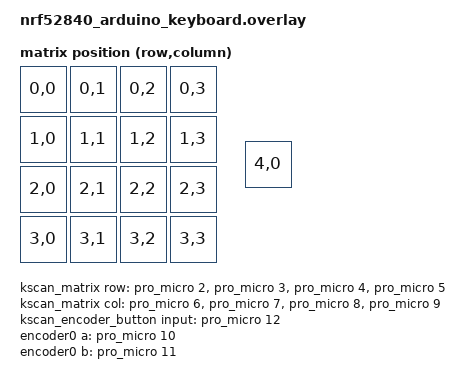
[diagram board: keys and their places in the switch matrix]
#include <dt-bindings/gpio/gpio.h>
#include <dt-bindings/zmk/matrix_transform.h>
#include <physical_layouts.dtsi>

/ {
    chosen {
        zmk,physical-layout = &physical_layout0;
        zmk,kscan = &kscan0;
        zmk,matrix-transform = &default_transform;
    };

    kscan0: kscan_composite {
        compatible = "zmk,kscan-composite";
        rows = <5>;
        columns = <4>;
        wakeup-source;

        matrix {
            kscan = <&kscan_matrix>;
        };

        encoder_button {
            kscan = <&kscan_encoder_button>;
            row-offset = <4>;
        };
    };

    kscan_matrix: kscan_matrix {
        compatible = "zmk,kscan-gpio-matrix";
        diode-direction = "row2col";
        wakeup-source;
        debounce-press-ms = <5>;
        debounce-release-ms = <5>;
        debounce-scan-period-ms = <1>;

        row-gpios
            = <&pro_micro 2 GPIO_ACTIVE_HIGH>
            , <&pro_micro 3 GPIO_ACTIVE_HIGH>
            , <&pro_micro 4 GPIO_ACTIVE_HIGH>
            , <&pro_micro 5 GPIO_ACTIVE_HIGH>
            ;

        col-gpios
            = <&pro_micro 6 (GPIO_ACTIVE_HIGH | GPIO_PULL_DOWN)>
            , <&pro_micro 7 (GPIO_ACTIVE_HIGH | GPIO_PULL_DOWN)>
            , <&pro_micro 8 (GPIO_ACTIVE_HIGH | GPIO_PULL_DOWN)>
            , <&pro_micro 9 (GPIO_ACTIVE_HIGH | GPIO_PULL_DOWN)>
            ;
    };

    kscan_encoder_button: kscan_encoder_button {
        compatible = "zmk,kscan-gpio-direct";
        wakeup-source;
        debounce-press-ms = <5>;
        debounce-release-ms = <5>;
        debounce-scan-period-ms = <1>;
        input-gpios = <&pro_micro 12 (GPIO_ACTIVE_LOW | GPIO_PULL_UP)>;
    };

    encoder0: encoder {
        compatible = "alps,ec11";
        a-gpios = <&pro_micro 10 (GPIO_ACTIVE_HIGH | GPIO_PULL_UP)>;
        b-gpios = <&pro_micro 11 (GPIO_ACTIVE_HIGH | GPIO_PULL_UP)>;
        steps = <80>;
        status = "okay";
    };

    sensors: sensors {
        compatible = "zmk,keymap-sensors";
        sensors = <&encoder0>;
        triggers-per-rotation = <20>;
    };

    default_transform: keymap_transform0 {
        compatible = "zmk,matrix-transform";
        rows = <5>;
        columns = <4>;
        map = <
            RC(0,0) RC(0,1) RC(0,2) RC(0,3)
            RC(1,0) RC(1,1) RC(1,2) RC(1,3)
            RC(2,0) RC(2,1) RC(2,2) RC(2,3)
            RC(3,0) RC(3,1) RC(3,2) RC(3,3)
            RC(4,0)
        >;
    };

    physical_layout0: physical_layout_0 {
        compatible = "zmk,physical-layout";
        display-name = "Default Layout";
        kscan = <&kscan0>;
        transform = <&default_transform>;
        keys = <
            &key_physical_attrs 100 100   0   0 0   0   0
            &key_physical_attrs 100 100 100   0 0   0   0
            &key_physical_attrs 100 100 200   0 0   0   0
            &key_physical_attrs 100 100 300   0 0   0   0
            &key_physical_attrs 100 100   0 100 0   0   0
            &key_physical_attrs 100 100 100 100 0   0   0
            &key_physical_attrs 100 100 200 100 0   0   0
            &key_physical_attrs 100 100 300 100 0   0   0
            &key_physical_attrs 100 100   0 200 0   0   0
            &key_physical_attrs 100 100 100 200 0   0   0
            &key_physical_attrs 100 100 200 200 0   0   0
            &key_physical_attrs 100 100 300 200 0   0   0
            &key_physical_attrs 100 100   0 300 0   0   0
            &key_physical_attrs 100 100 100 300 0   0   0
            &key_physical_attrs 100 100 200 300 0   0   0
            &key_physical_attrs 100 100 300 300 0   0   0
            &key_physical_attrs 100 100 450 150 0   0   0
        >;
    };
};
